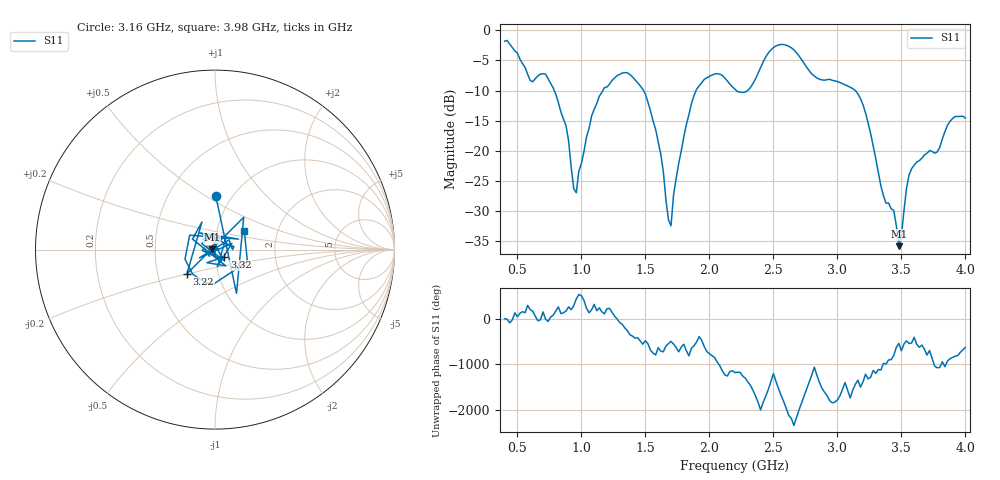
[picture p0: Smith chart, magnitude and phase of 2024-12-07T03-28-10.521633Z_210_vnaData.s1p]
!Created with skrf (http://scikit-rf.org).
# Hz S RI R 50.0
!freq ReS11 ImS11
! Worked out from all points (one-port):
!   181 points, 400 MHz to 4 GHz, reference 50 ohm
!   lowest |S11| = -35.9 dB at 3.48 GHz (marker M1), VSWR 1.03, Z = 48.4 + j0.109 ohm
!   |S11| at or under -10 dB: 788 MHz to 1.167 GHz (379.4 MHz wide, 38.8 % of centre); 1.485 GHz to 1.896 GHz (410.6 MHz wide, 24.3 % of centre); 3.14 GHz to end of sweep (the widest 3 of 4)
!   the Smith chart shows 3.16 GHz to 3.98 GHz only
!   S11 on the Smith chart (normalised r, x): 3.16 GHz: 0.85, +0.55; 3.22 GHz: 0.71, -0.20; 3.32 GHz: 1.11, -0.09; 3.98 GHz: 1.35, +0.29
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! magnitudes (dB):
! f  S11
! 400 MHz  -1.8
! 600 MHz  -8.3
! 720 MHz  -7.3
! 860 MHz  -14.8
! 960 MHz  -27.0
! 1.08 GHz  -14.2
! 1.3 GHz  -7.3
! 1.5 GHz  -10.6
! 1.62 GHz  -20.6
! 1.7 GHz  -32.5
! 1.76 GHz  -22.1
! 1.92 GHz  -9.2
! 2.06 GHz  -7.2
! 2.2 GHz  -9.8
! 2.3 GHz  -10.0
! 2.5 GHz  -2.9
! 2.66 GHz  -3.2
! 2.84 GHz  -7.9
! 3.1 GHz  -9.5
! 3.16 GHz  -10.6
! 3.22 GHz  -13.7
! 3.32 GHz  -23.6
! 3.38 GHz  -28.7
! 3.44 GHz  -29.9
! 3.48 GHz  -35.9
! 3.56 GHz  -24.0
! 3.98 GHz  -14.3
! 4 GHz  -14.6
